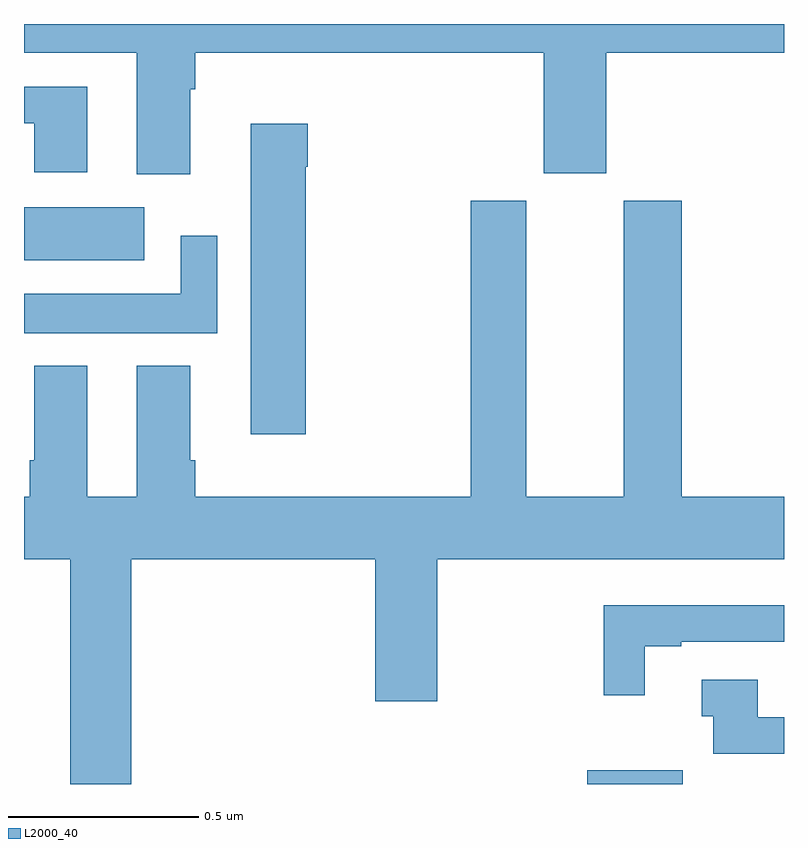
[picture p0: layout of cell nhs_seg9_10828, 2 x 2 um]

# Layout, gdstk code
import gdstk
lib = gdstk.Library(unit=1e-6, precision=1e-09)
def R(c, l, rs):  # rectangles x0, y0, x1, y1
    for r in rs: c.add(gdstk.rectangle(r[:2], r[2:], *l))
def P(c, l, *ps):  # polygons
    for p in ps: c.add(gdstk.Polygon(p, *l))
L2000_40 = (2000, 40)

nhs_seg9_10828 = lib.new_cell('nhs_seg9_10828')
R(nhs_seg9_10828, L2000_40, [(249.482,1190.5,249.733,1190.536), (248,1191.878,248.317,1192.018)])
P(nhs_seg9_10828, L2000_40, [(248.437,1192.328),(248.45,1192.328),(248.45,1192.424),(249.368,1192.424),(249.368,1192.107),(249.532,1192.107),(249.532,1192.424),(250,1192.424),(250,1192.5),(248,1192.5),(248,1192.424),(248.297,1192.424),(248.297,1192.104),(248.437,1192.104)],
  [(248.167,1192.335),(248,1192.335),(248,1192.239),(248.027,1192.239),(248.027,1192.11),(248.167,1192.11)],
  [(248.742,1192.124),(248.747,1192.124),(248.747,1192.237),(248.597,1192.237),(248.597,1191.42),(248.742,1191.42)],
  [(248.282,1191.092),(248.924,1191.092),(248.924,1190.718),(249.088,1190.718),(249.088,1191.092),(250,1191.092),(250,1191.256),(249.731,1191.256),(249.731,1192.035),(249.578,1192.035),(249.578,1191.256),(249.322,1191.256),(249.322,1192.035),(249.175,1192.035),(249.175,1191.256),(248.45,1191.256),(248.45,1191.352),(248.437,1191.352),(248.437,1191.601),(248.297,1191.601),(248.297,1191.256),(248.167,1191.256),(248.167,1191.601),(248.027,1191.601),(248.027,1191.352),(248.015,1191.352),(248.015,1191.256),(248,1191.256),(248,1191.092),(248.122,1191.092),(248.122,1190.5),(248.282,1190.5)],
  [(248.508,1191.943),(248.412,1191.943),(248.412,1191.79),(248,1191.79),(248,1191.686),(248.508,1191.686)],
  [(249.634,1190.862),(249.73,1190.862),(249.73,1190.874),(250,1190.874),(250,1190.97),(249.525,1190.97),(249.525,1190.733),(249.634,1190.733)],
  [(250,1190.676),(249.931,1190.676),(249.931,1190.775),(249.783,1190.775),(249.783,1190.678),(249.814,1190.678),(249.814,1190.58),(250,1190.58)])

lib.write_gds('nhs_seg9_10828.gds')
